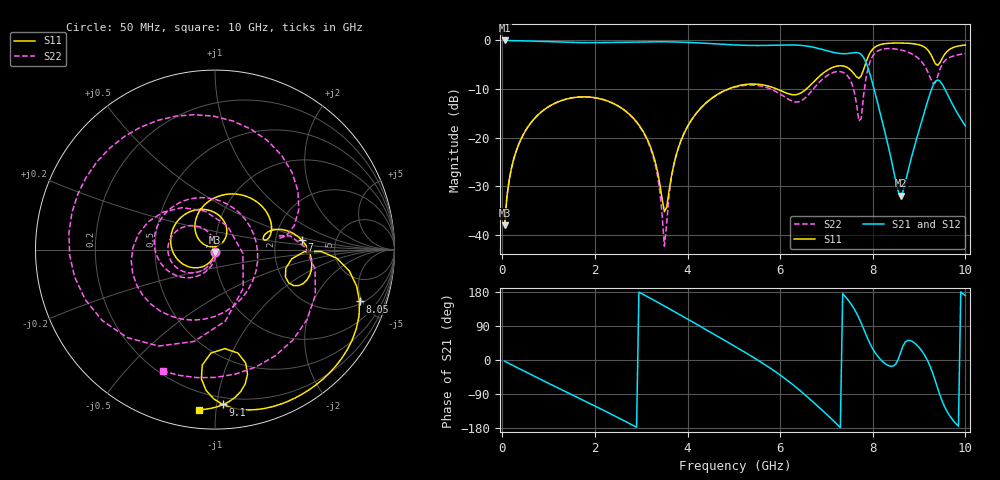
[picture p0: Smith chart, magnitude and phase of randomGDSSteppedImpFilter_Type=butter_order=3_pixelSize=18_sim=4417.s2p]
! freq	dB(S11)	phase(S11)	dB(S12)	phase(S12)
!  dB(S21)	phase(S21)	dB(S22)	phase(S22)
!S-par simulation data
#  GHz  S  DB  R 50
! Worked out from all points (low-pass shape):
!   200 points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, 50 MHz to 10 GHz, reference 50 ohm
!   highest |S21| = -0.01 dB at 50 MHz (marker M1); lowest = -31.9 dB at 8.6 GHz (marker M2)
!   |S21| within 3 dB of the highest: start of sweep to 7.76 GHz
!   lowest |S11| = -38.1 dB at 50 MHz (marker M3), VSWR 1.03, Z = 49.9 - j1.24 ohm
!   |S11| at or under -10 dB: start of sweep to 4.878 GHz; 5.927 GHz to 6.564 GHz (637 MHz wide, 10.2 % of centre)
!   |S22| runs from -42.4 to -1.7 dB; largest |S21 - S12| = 0
!   S11 on the Smith chart (normalised r, x): 50 MHz: 1.00, -0.02; 7 GHz: 2.84, +0.39; 8.05 GHz: 2.21, -4.76; 9.1 GHz: 0.15, -1.04; 10 GHz: 0.10, -0.90
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0.05  -38.08 -92.8  -0.01 -3.2  -0.01 -3.2  -38.07 -91.9
0.2  -26.21 -104.3  -0.03 -12.6  -0.03 -12.6  -26.20 -100.6
0.5  -18.61 -126.1  -0.10 -31.1  -0.10 -31.1  -18.59 -117.0
1.75  -11.62 146.4  -0.44 -106.4  -0.44 -106.4  -11.61 179.7
2.9  -16.78 64.8  -0.32 -177.6  -0.32 -177.6  -16.89 121.5
3.4  -29.42 48.2  -0.27 149.3  -0.27 149.3  -30.91 84.3
3.5  -35.24 88.2  -0.28 142.5  -0.28 142.5  -42.35 16.2
3.65  -28.09 153.3  -0.30 132.3  -0.30 132.3  -28.36 -85.6
3.9  -19.69 148.6  -0.36 115.0  -0.36 115.0  -19.63 -105.8
5.05  -9.44 65.0  -0.94 34.0  -0.94 34.0  -9.57 -178.4
5.9  -9.90 15.1  -0.98 -31.1  -0.98 -31.1  -10.47 104.6
6.7  -8.75 18.0  -1.37 -109.5  -1.37 -109.5  -10.16 -61.6
7  -6.24 6.1  -2.09 -142.9  -2.09 -142.9  -7.34 -115.7
7.4  -5.36 -18.4  -2.73 168.3  -2.73 168.3  -6.80 178.5
7.7  -7.79 -14.8  -2.58 111.1  -2.58 111.1  -16.57 61.9
7.9  -3.34 -4.1  -5.72 53.5  -5.72 53.5  -5.59 -102.9
8.05  -1.36 -19.7  -10.82 19.5  -10.82 19.5  -2.59 -147.8
8.35  -0.59 -44.1  -22.40 -15.4  -22.40 -15.4  -1.68 157.9
8.6  -0.53 -58.9  -31.94 19.6  -31.94 19.6  -1.95 121.5
9.1  -1.27 -87.2  -15.24 16.5  -15.24 16.5  -4.95 35.1
9.55  -2.88 -75.4  -9.89 -123.1  -9.89 -123.1  -4.24 -24.3
10  -0.95 -95.6  -17.62 169.7  -17.62 169.7  -2.67 -113.1
